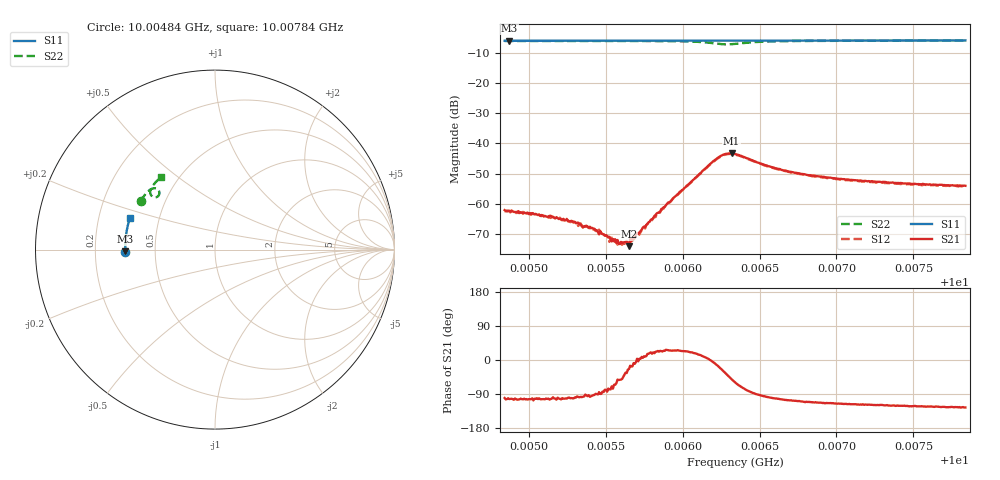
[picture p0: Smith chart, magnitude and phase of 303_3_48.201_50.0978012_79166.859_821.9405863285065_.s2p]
#  HZ  S  RI  R  50.00
! Rohde & Schwarz Vector Network Analyzer
! Rohde-Schwarz,ZNB20-2Port,1311601062101988,3.16
! Created: UTC 3/20/2024, 11:49:40 AM
! freq[Hz]  re:S11  im:S11  re:S21  im:S21  re:S12  im:S12  re:S22  im:S22
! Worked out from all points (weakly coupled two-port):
!   401 points, 10.00484 GHz to 10.00784 GHz, reference 50 ohm
!   highest |S21| = -43.32 dB at 10.00632 GHz (marker M1); lowest = -74.0 dB at 10.00565 GHz (marker M2)
!   lowest |S11| = -6.0 dB at 10.00487 GHz (marker M3), VSWR 2.99, Z = 16.7 - j0.462 ohm
!   |S11| at or under -10 dB: nowhere
!   |S22| runs from -7.2 to -6.0 dB; largest |S21 - S12| = 0.00038
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1.0004842e10  -0.4991 -0.0124  -0.000141 -0.000775  -0.000138 -0.000747  -0.4145 0.2687
1.0004872e10  -0.499 -0.0104  -0.000175 -0.000749  -0.000137 -0.000742  -0.4137 0.2704
1.0005149e10  -0.4997 0.0077  -0.000127 -0.000601  -0.000119 -0.000598  -0.4034 0.2869
1.0005307e10  -0.4999 0.0179  -7.55e-05 -0.000471  -4.36e-05 -0.000461  -0.3969 0.2962
1.0005344e10  -0.4999 0.0203  -5.92e-05 -0.000422  -5.09e-05 -0.000433  -0.3954 0.2985
1.0005412e10  -0.4997 0.0247  -3.17e-05 -0.0004  3.17e-06 -0.000375  -0.3925 0.3025
1.0005441e10  -0.4998 0.0266  9.74e-07 -0.000366  6.32e-06 -0.000359  -0.391 0.3043
1.0005531e10  -0.4997 0.0324  5.74e-05 -0.000261  6.9e-05 -0.000254  -0.3869 0.3098
1.0005554e10  -0.4995 0.0338  9.98e-05 -0.000218  8.37e-05 -0.000246  -0.3858 0.3112
1.0005591e10  -0.4993 0.0364  0.000132 -0.000172  0.000127 -0.000187  -0.3839 0.3137
1.0005651e10  -0.4992 0.0402  0.000182 -8.04e-05  0.000226 -5.99e-05  -0.3806 0.3172
1.0005666e10  -0.4992 0.0413  0.000232 -7.21e-05  0.000234 -5.27e-05  -0.3798 0.3183
1.0005734e10  -0.4988 0.0455  0.00037 5.37e-05  0.000358 5.26e-05  -0.3758 0.3225
1.0005846e10  -0.4984 0.0529  0.000661 0.000269  0.000653 0.000319  -0.3677 0.3296
1.0006206e10  -0.4958 0.076  0.00517 -0.000692  0.00508 -0.000451  -0.3127 0.3279
1.0006265e10  -0.4951 0.0795  0.00568 -0.00323  0.00567 -0.00291  -0.3114 0.306
1.0006318e10  -0.4948 0.0826  0.00431 -0.00529  0.00447 -0.00495  -0.3266 0.2919
1.000634e10  -0.4947 0.084  0.00342 -0.00572  0.00364 -0.00543  -0.3348 0.2907
1.0006603e10  -0.4925 0.1009  -0.000781 -0.00379  -0.000593 -0.00378  -0.3596 0.3308
1.0006842e10  -0.4897 0.1161  -0.00107 -0.00275  -0.000925 -0.00271  -0.349 0.3527
1.0007344e10  -0.4822 0.1477  -0.00113 -0.00193  -0.000991 -0.00195  -0.3241 0.382
1.0007839e10  -0.4729 0.178  -0.00114 -0.00163  -0.00104 -0.00164  -0.2989 0.405
